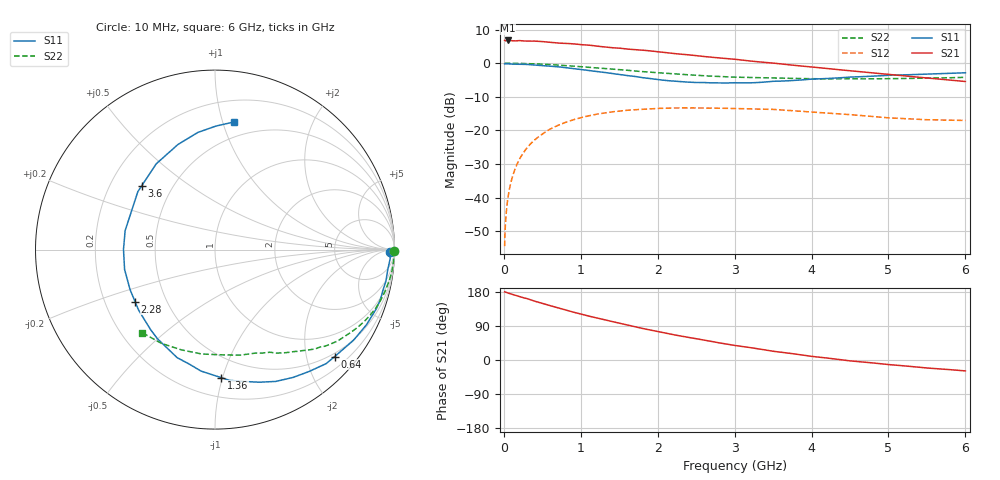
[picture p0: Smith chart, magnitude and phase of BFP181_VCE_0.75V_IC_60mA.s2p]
! Infineon Technologies  Discrete & RF Semiconductors
! BFP181
! VCE = 0.75V,  IC =  60 mA
! Common Emitter S-Parameters:  Jan 2016
# GHz  S  MA  R  50
!  f  S11  S21  S12  S22
! GHz  MAG  ANG  MAG  ANG  MAG  ANG  MAG  ANG
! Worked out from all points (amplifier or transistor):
!   210 points, 10 MHz to 6 GHz, reference 50 ohm
!   highest |S21| = 6.8 dB at 50 MHz (marker M1)
!   |S21| within 3 dB of that: start of sweep to 1.86 GHz
!   unconditionally stable (mu >= 1): 3.23 GHz to end of sweep
!   at 185 MHz: K = 0.07, MSG = 18.0 dB, |S12| = -29.4 dB
!   at 1.52 GHz: K = 0.52, MSG = 9.3 dB, |S12| = -14.2 dB
!   at 6 GHz: K = 1.59, MAG = 1.3 dB, |S12| = -17.0 dB
!   S11 on the Smith chart (normalised r, x): 10 MHz: 63, -29; 640 MHz: 0.43, -2.56; 1.36 GHz: 0.34, -0.99; 2.28 GHz: 0.33, -0.27; 3.6 GHz: 0.33, +0.34; 6 GHz: 0.37, +1.09
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0.01  0.9741 -0.7  2.176 179.8  0.0019 86.9  0.9995 -0.3
0.015  0.9749 -1.1  2.164 179.6  0.0029 86.2  0.9988 -0.5
0.025  0.9759 -1.7  2.157 179.0  0.0048 87.4  0.9979 -0.9
0.05  0.9774 -2.9  2.177 176.9  0.0094 90.8  0.9968 -1.8
0.115  0.9687 -7.7  2.15 173.0  0.021 83.5  0.9964 -3.9
0.22  0.9626 -14.7  2.156 166.4  0.0404 79.8  0.9919 -7.5
0.4  0.9422 -26.4  2.13 155.3  0.0723 71.6  0.9775 -13.4
0.64  0.8942 -41.8  2.025 141.3  0.11 60.4  0.9473 -21.1
0.9  0.8345 -58.6  1.942 126.5  0.144 49.5  0.9051 -28.6
1.02  0.8019 -66.5  1.881 120.3  0.1566 44.7  0.883 -31.8
1.1  0.7791 -71.5  1.861 116.0  0.1647 41.8  0.869 -33.8
1.36  0.715 -87.1  1.719 103.8  0.1855 32.5  0.8241 -40.2
1.7  0.6379 -109.3  1.599 88.1  0.203 22.4  0.7652 -46.9
2.02  0.568 -130.1  1.47 74.3  0.2127 14.5  0.7188 -52.3
2.28  0.5316 -146.9  1.368 64.1  0.2159 7.9  0.6862 -57.0
2.8  0.5098 179.9  1.199 45.2  0.2147 -2.3  0.6357 -65.1
3.1  0.5089 163.0  1.11 35.7  0.2104 -7.8  0.6157 -70.0
3.6  0.5413 139.1  0.975 20.7  0.2019 -14.5  0.5998 -78.4
4.1  0.5844 121.2  0.856 7.5  0.1849 -20.1  0.5856 -88.7
4.5  0.621 109.4  0.772 -2.3  0.1717 -23.6  0.5863 -97.3
5.1  0.6644 96.5  0.665 -13.6  0.1519 -24.3  0.5899 -110.8
6  0.7199 81.4  0.534 -28.8  0.1406 -19.0  0.6154 -131.2
